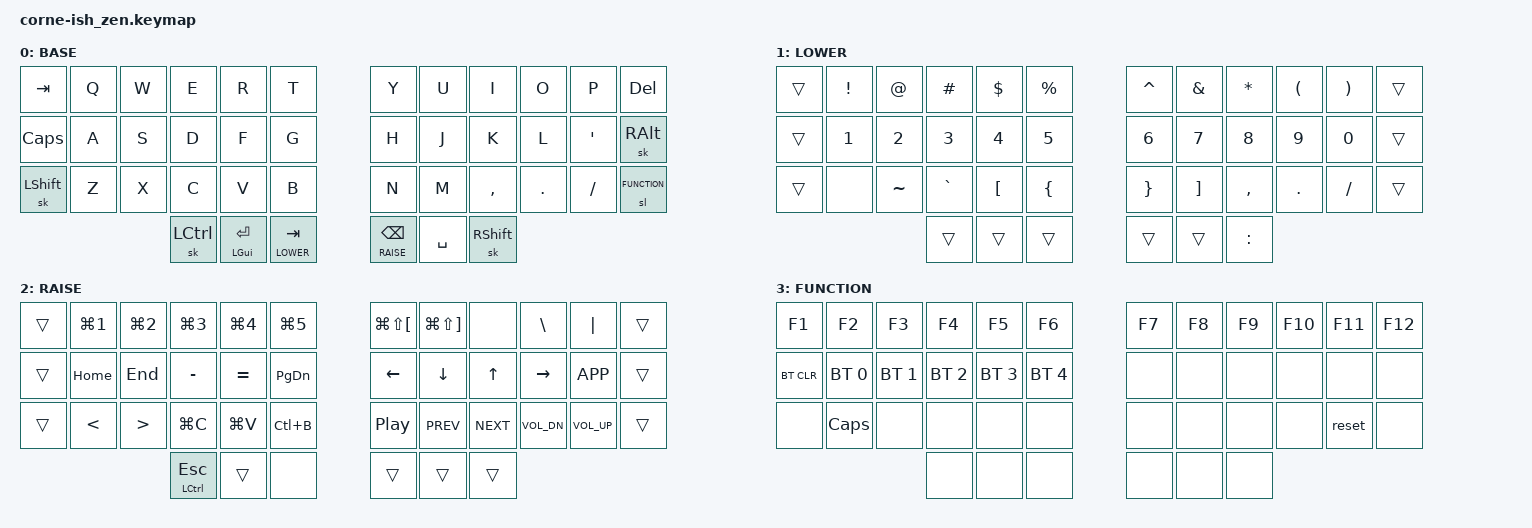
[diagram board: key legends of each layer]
/*
 * Corne-ish Zen keymap based on Mark Stosberg's Corne 3x5+1 v2.2 layout.
 * https://mark.stosberg.com/markstos-corne-3x5-1-keyboard-layout/
 *
 * Independently translated to native ZMK behaviors for this board.
 */

#include <behaviors.dtsi>
#include <dt-bindings/zmk/keys.h>
#include <dt-bindings/zmk/bt.h>

// Layers must match the declaration order below.
#define BASE     0
#define LOWER    1
#define RAISE    2
#define FUNCTION 3

/ {
    chosen {
        zmk,matrix_transform = &default_transform;
        // zmk,matrix_transform = &five_column_transform;
    };
};

// macOS shortcuts.
#define U_COPY     LG(C)
#define U_PSTE     LG(V)
#define U_CTRL_B   LC(B)
#define U_CMD_1    LG(N1)
#define U_CMD_2    LG(N2)
#define U_CMD_3    LG(N3)
#define U_CMD_4    LG(N4)
#define U_CMD_5    LG(N5)
#define U_TAB_PREV LG(LS(LBKT))
#define U_TAB_NEXT LG(LS(RBKT))

// Mark's one-shot modifier timeout.
&sk {
    release-after-ms = <2000>;
};

// Function is available as a one-shot layer or while held.
&sl {
    release-after-ms = <2000>;
};

// Thumb layer-taps favor the layer when another key is pressed.
&lt {
    flavor = "hold-preferred";
    tapping-term-ms = <125>;
    quick-tap-ms = <0>;
};

// Thumb modifier-taps use Mark's longer general tapping term.
&mt {
    flavor = "hold-preferred";
    tapping-term-ms = <200>;
    quick-tap-ms = <0>;
};

/ {
    combos {
        compatible = "zmk,combos";

        jk_escape {
            timeout-ms = <40>;
            key-positions = <19 20>;
            bindings = <&kp ESC>;
            layers = <BASE>;
        };
    };

    keymap {
        compatible = "zmk,keymap";

        base_layer {
            label = "BASE";
            bindings = <
                &kp TAB    &kp Q          &kp W          &kp E      &kp R      &kp T       &kp Y     &kp U     &kp I      &kp O       &kp P     &kp DEL
                &kp CAPS   &kp A          &kp S          &kp D      &kp F      &kp G       &kp H     &kp J     &kp K      &kp L       &kp SQT   &sk RALT
                &sk LSHFT  &kp Z          &kp X          &kp C      &kp V      &kp B       &kp N     &kp M     &kp COMMA  &kp DOT     &kp FSLH  &sl FUNCTION
                                           &sk LCTRL       &mt LGUI ENTER       &lt LOWER TAB          &lt RAISE BSPC  &kp SPACE  &sk RSHFT
            >;
        };

        lower_layer {
            label = "LOWER";
            bindings = <
                &trans  &kp EXCLAMATION  &kp AT_SIGN  &kp HASH   &kp DOLLAR        &kp PERCENT       &kp CARET        &kp AMPERSAND      &kp ASTERISK  &kp LEFT_PARENTHESIS  &kp RIGHT_PARENTHESIS  &trans
                &trans  &kp N1           &kp N2       &kp N3     &kp N4            &kp N5            &kp N6           &kp N7             &kp N8        &kp N9                  &kp N0                   &trans
                &trans  &none            &kp TILDE    &kp GRAVE  &kp LEFT_BRACKET  &kp LEFT_BRACE    &kp RIGHT_BRACE  &kp RIGHT_BRACKET  &kp COMMA     &kp DOT                 &kp FSLH                 &trans
                                                     &trans       &trans            &trans             &trans             &trans       &kp COLON
            >;
        };

        raise_layer {
            label = "RAISE";
            bindings = <
                &trans  &kp U_CMD_1    &kp U_CMD_2       &kp U_CMD_3     &kp U_CMD_4  &kp U_CMD_5    &kp U_TAB_PREV  &kp U_TAB_NEXT  &none       &kp BSLH      &kp PIPE      &trans
                &trans  &kp HOME       &kp END           &kp MINUS       &kp EQUAL  &kp PG_DN      &kp LEFT  &kp DOWN    &kp UP     &kp RIGHT     &kp K_APP     &trans
                &trans  &kp LESS_THAN  &kp GREATER_THAN  &kp U_COPY      &kp U_PSTE &kp U_CTRL_B   &kp C_PP  &kp C_PREV  &kp C_NEXT &kp C_VOL_DN  &kp C_VOL_UP  &trans
                                                      &mt LCTRL ESC       &trans      &none          &trans       &trans       &trans
            >;
        };

        function_layer {
            label = "FUNCTION";
            bindings = <
                &kp F1      &kp F2        &kp F3        &kp F4        &kp F5        &kp F6        &kp F7  &kp F8  &kp F9  &kp F10  &kp F11  &kp F12
                &bt BT_CLR  &bt BT_SEL 0  &bt BT_SEL 1  &bt BT_SEL 2  &bt BT_SEL 3  &bt BT_SEL 4  &none   &none   &none   &none    &none    &none
                &none       &kp CAPS      &none         &none         &none         &none         &none   &none   &none   &none    &reset   &none
                                                        &none         &none         &none         &none   &none   &none
            >;
        };
    };
};
